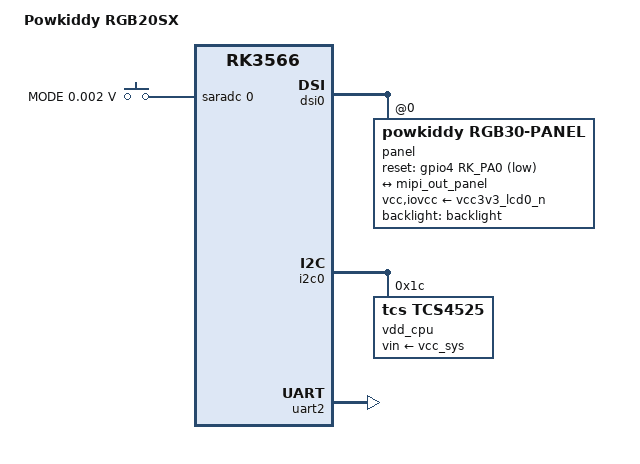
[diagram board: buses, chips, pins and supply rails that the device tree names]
// SPDX-License-Identifier: (GPL-2.0+ OR MIT)

/dts-v1/;

#include <dt-bindings/gpio/gpio.h>
#include <dt-bindings/input/linux-event-codes.h>
#include <dt-bindings/pinctrl/rockchip.h>
#include "rk3566-powkiddy-rk2023.dtsi"

/ {
	model = "Powkiddy RGB20SX";
	compatible = "powkiddy,rgb20sx", "rockchip,rk3566";

	chosen: chosen {
		stdout-path = "serial2:1500000n8";
	};

	adc_keys: adc-keys {
		compatible = "adc-keys";
		io-channels = <&saradc 0>;
		io-channel-names = "buttons";
		keyup-threshold-microvolt = <1800000>;
		poll-interval = <60>;

		/*
		 * Button is labelled as FN, but according to input
		 * guidelines it should be mode.
		 */
		button-mode {
			label = "MODE";
			linux,code = <BTN_MODE>;
			press-threshold-microvolt = <1750>;
		};
	};
};

&battery {
	charge-full-design-microamp-hours = <5000000>;
};

&bluetooth {
	compatible = "realtek,rtl8723ds-bt";
};

&cru {
	assigned-clocks = <&pmucru CLK_RTC_32K>, <&cru PLL_GPLL>,
			  <&pmucru PLL_PPLL>, <&cru PLL_VPLL>;
	assigned-clock-rates = <32768>, <1200000000>,
			       <200000000>, <292500000>;
};

&dsi0 {
	panel: panel@0 {
		compatible = "powkiddy,rgb30-panel";
		reg = <0>;
		backlight = <&backlight>;
		pinctrl-names = "default";
		pinctrl-0 = <&lcd_rst>;
		reset-gpios = <&gpio4 RK_PA0 GPIO_ACTIVE_LOW>;
		vcc-supply = <&vcc3v3_lcd0_n>;
		iovcc-supply = <&vcc3v3_lcd0_n>;

		port {
			mipi_in_panel: endpoint {
				remote-endpoint = <&mipi_out_panel>;
			};
		};
	};
};

&i2c0 {
	vdd_cpu: regulator@1c {
		compatible = "tcs,tcs4525";
		reg = <0x1c>;
		fcs,suspend-voltage-selector = <1>;
		regulator-min-microvolt = <712500>;
		regulator-max-microvolt = <1390000>;
		regulator-name = "vdd_cpu";
		regulator-ramp-delay = <2300>;
		vin-supply = <&vcc_sys>;
		regulator-state-mem {
			regulator-off-in-suspend;
		};
	};
};

&uart2 {
	status = "okay";
};
